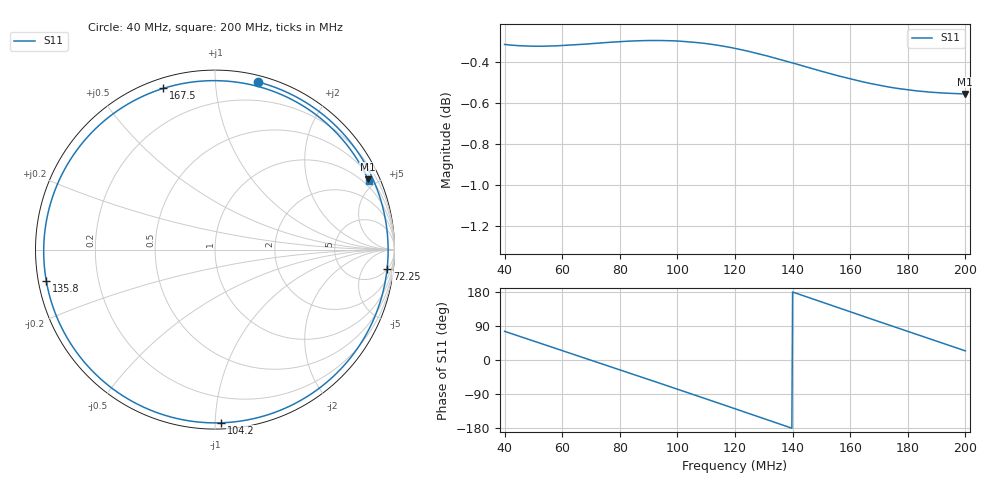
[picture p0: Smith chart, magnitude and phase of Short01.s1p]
# Hz S RI R 50
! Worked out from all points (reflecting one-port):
!   641 points, 40 MHz to 200 MHz, reference 50 ohm
!   lowest |S11| = -0.6 dB at 199.8 MHz (marker M1), VSWR 31.23, Z = 34.2 + j223 ohm
!   phase of S11 starts at 76 deg and turns -412 deg over the sweep
!   S11 on the Smith chart (normalised r, x): 40 MHz: 0.05, +1.29; 72.25 MHz: 5, -16; 104.2 MHz: 0.04, -1.04; 135.8 MHz: 0.02, -0.09; 167.5 MHz: 0.04, +0.73; 200 MHz: 0.72, +4.58
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4e7  0.239 0.9342
4.925e7  0.5921 0.7598
5.475e7  0.7581 0.5944
6e7  0.8749 0.4039
6.625e7  0.9525 0.1497
7.225e7  0.9591 -0.1055
8e7  0.8684 -0.4226
8.5e7  0.7544 -0.6037
9.05e7  0.5858 -0.7686
9.525e7  0.4111 -0.8745
1e8  0.2174 -0.9413
1.0425e8  0.0352 -0.965
1.12e8  -0.2961 -0.9177
1.2e8  -0.6001 -0.752
1.2825e8  -0.8308 -0.4794
1.3575e8  -0.9403 -0.1735
1.4e8  -0.9543 0.0104
1.4475e8  -0.9278 0.2144
1.495e8  -0.8583 0.4075
1.545e8  -0.7428 0.5892
1.6e8  -0.5727 0.7528
1.675e8  -0.2881 0.8982
1.7375e8  -0.0263 0.9411
1.8e8  0.236 0.91
1.89e8  0.5741 0.7427
1.9475e8  0.7439 0.5717
1.9975e8  0.8519 0.3925
2e8  0.8562 0.383
